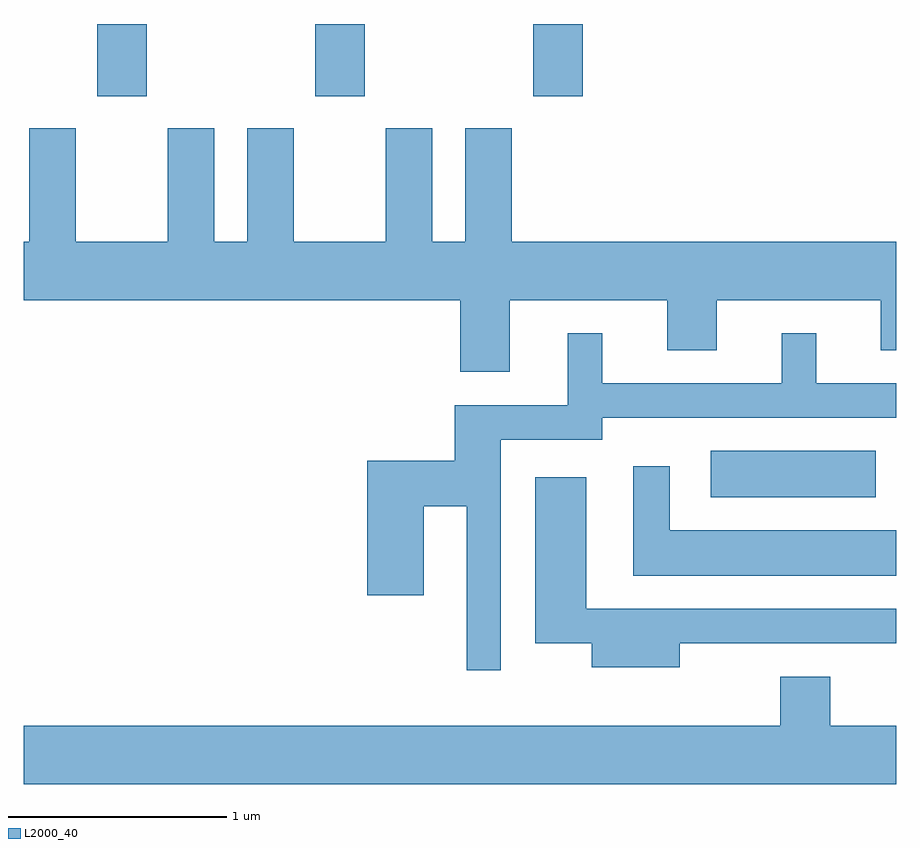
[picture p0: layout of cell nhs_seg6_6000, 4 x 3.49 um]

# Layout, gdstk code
import gdstk
lib = gdstk.Library(unit=1e-6, precision=1e-09)
def R(c, l, rs):  # rectangles x0, y0, x1, y1
    for r in rs: c.add(gdstk.rectangle(r[:2], r[2:], *l))
def A(c, l, x, y, w, h, nx, ny, dx, dy):  # array of equal rectangles
    R(c, l, [(x+i*dx, y+j*dy, x+i*dx+w, y+j*dy+h) for i in range(nx) for j in range(ny)])
def P(c, l, *ps):  # polygons
    for p in ps: c.add(gdstk.Polygon(p, *l))
L2000_40 = (2000, 40)

nhs_seg6_6000 = lib.new_cell('nhs_seg6_6000')
A(nhs_seg6_6000, L2000_40, 367.946, 1579.831, 0.228, 0.331, 3, 1, 1, 0)
R(nhs_seg6_6000, L2000_40, [(370.761,1577.991,371.519,1578.204)])
P(nhs_seg6_6000, L2000_40, [(369.839,1578.896),(370.561,1578.896),(370.561,1578.666),(370.789,1578.666),(370.789,1578.896),(371.541,1578.896),(371.541,1578.666),(371.611,1578.666),(371.611,1579.164),(369.849,1579.164),(369.849,1579.684),(369.636,1579.684),(369.636,1579.164),(369.484,1579.164),(369.484,1579.684),(369.271,1579.684),(369.271,1579.164),(368.849,1579.164),(368.849,1579.684),(368.636,1579.684),(368.636,1579.164),(368.484,1579.164),(368.484,1579.684),(368.271,1579.684),(368.271,1579.164),(367.849,1579.164),(367.849,1579.684),(367.636,1579.684),(367.636,1579.164),(367.611,1579.164),(367.611,1578.896),(369.611,1578.896),(369.611,1578.566),(369.839,1578.566)],
  [(369.799,1578.256),(370.264,1578.256),(370.264,1578.356),(371.611,1578.356),(371.611,1578.514),(371.244,1578.514),(371.244,1578.743),(371.086,1578.743),(371.086,1578.514),(370.264,1578.514),(370.264,1578.743),(370.106,1578.743),(370.106,1578.414),(369.586,1578.414),(369.586,1578.159),(369.186,1578.159),(369.186,1577.541),(369.444,1577.541),(369.444,1577.951),(369.641,1577.951),(369.641,1577.198),(369.799,1577.198)],
  [(371.611,1577.839),(370.574,1577.839),(370.574,1578.133),(370.406,1578.133),(370.406,1577.631),(371.611,1577.631)],
  [(370.619,1577.321),(371.611,1577.321),(371.611,1577.479),(370.189,1577.479),(370.189,1578.084),(369.956,1578.084),(369.956,1577.321),(370.216,1577.321),(370.216,1577.211),(370.619,1577.211)],
  [(371.611,1576.944),(371.309,1576.944),(371.309,1577.169),(371.081,1577.169),(371.081,1576.944),(367.611,1576.944),(367.611,1576.676),(371.611,1576.676)])

lib.write_gds('nhs_seg6_6000.gds')
